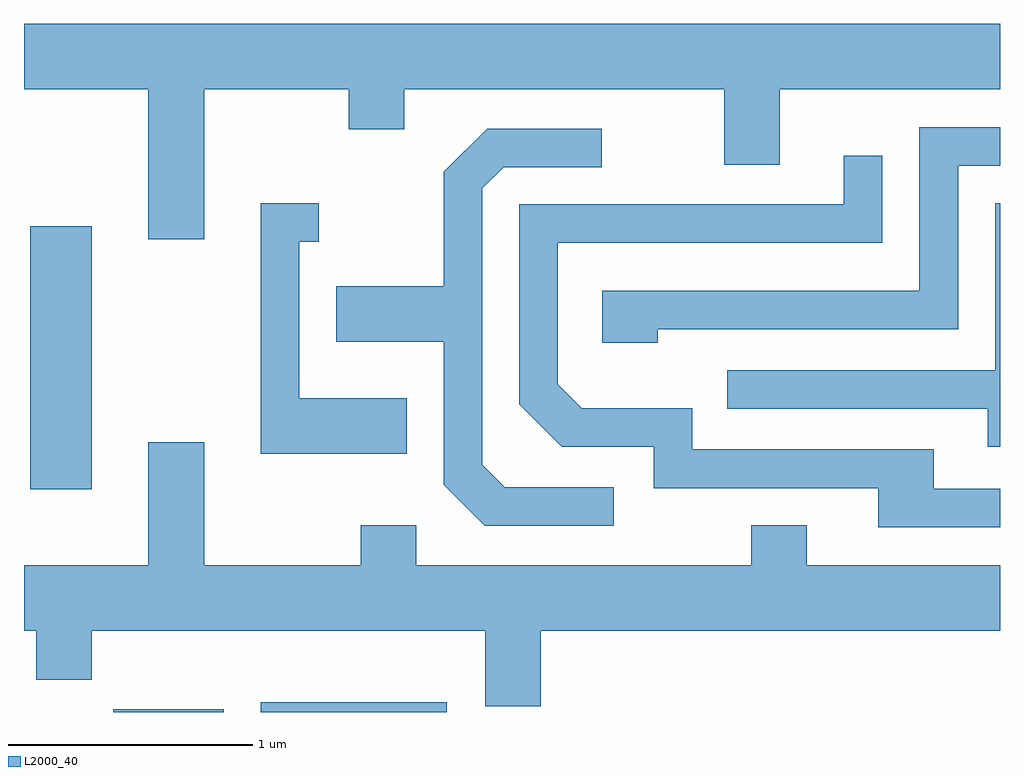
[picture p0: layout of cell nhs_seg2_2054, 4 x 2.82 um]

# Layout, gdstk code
import gdstk
lib = gdstk.Library(unit=1e-6, precision=1e-09)
def R(c, l, rs):  # rectangles x0, y0, x1, y1
    for r in rs: c.add(gdstk.rectangle(r[:2], r[2:], *l))
def P(c, l, *ps):  # polygons
    for p in ps: c.add(gdstk.Polygon(p, *l))
L2000_40 = (2000, 40)

nhs_seg2_2054 = lib.new_cell('nhs_seg2_2054')
R(nhs_seg2_2054, L2000_40, [(245.976,1005.802,246.429,1005.814), (246.581,1005.802,247.344,1005.844), (245.636,1006.716,245.889,1007.794)])
P(nhs_seg2_2054, L2000_40, [(246.349,1008.356),(246.941,1008.356),(246.941,1008.191),(247.169,1008.191),(247.169,1008.356),(248.481,1008.356),(248.481,1008.046),(248.709,1008.046),(248.709,1008.356),(249.611,1008.356),(249.611,1008.624),(245.611,1008.624),(245.611,1008.356),(246.121,1008.356),(246.121,1007.741),(246.349,1007.741)],
  [(248.209,1007.371),(249.439,1007.371),(249.439,1008.041),(249.611,1008.041),(249.611,1008.199),(249.281,1008.199),(249.281,1007.529),(247.981,1007.529),(247.981,1007.316),(248.209,1007.316)],
  [(248.028,1006.724),(247.582,1006.724),(247.489,1006.817),(247.489,1007.949),(247.577,1008.036),(247.978,1008.036),(247.978,1008.194),(247.509,1008.194),(247.331,1008.017),(247.331,1007.549),(246.891,1007.549),(246.891,1007.321),(247.331,1007.321),(247.331,1006.734),(247.499,1006.566),(248.028,1006.566)],
  [(249.611,1006.719),(249.339,1006.719),(249.339,1006.879),(248.349,1006.879),(248.349,1007.049),(247.897,1007.049),(247.799,1007.147),(247.799,1007.726),(249.129,1007.726),(249.129,1008.083),(248.971,1008.083),(248.971,1007.884),(247.641,1007.884),(247.641,1007.064),(247.814,1006.891),(248.191,1006.891),(248.191,1006.721),(249.111,1006.721),(249.111,1006.561),(249.611,1006.561)],
  [(247.179,1007.089),(246.739,1007.089),(246.739,1007.731),(246.818,1007.731),(246.818,1007.889),(246.581,1007.889),(246.581,1006.861),(247.179,1006.861)],
  [(249.611,1007.889),(249.591,1007.889),(249.591,1007.204),(248.493,1007.204),(248.493,1007.046),(249.561,1007.046),(249.561,1006.891),(249.611,1006.891)],
  [(247.729,1006.136),(249.611,1006.136),(249.611,1006.404),(248.819,1006.404),(248.819,1006.569),(248.591,1006.569),(248.591,1006.404),(247.219,1006.404),(247.219,1006.569),(246.991,1006.569),(246.991,1006.404),(246.349,1006.404),(246.349,1006.909),(246.121,1006.909),(246.121,1006.404),(245.611,1006.404),(245.611,1006.136),(245.661,1006.136),(245.661,1005.936),(245.889,1005.936),(245.889,1006.136),(247.501,1006.136),(247.501,1005.826),(247.729,1005.826)])

lib.write_gds('nhs_seg2_2054.gds')
